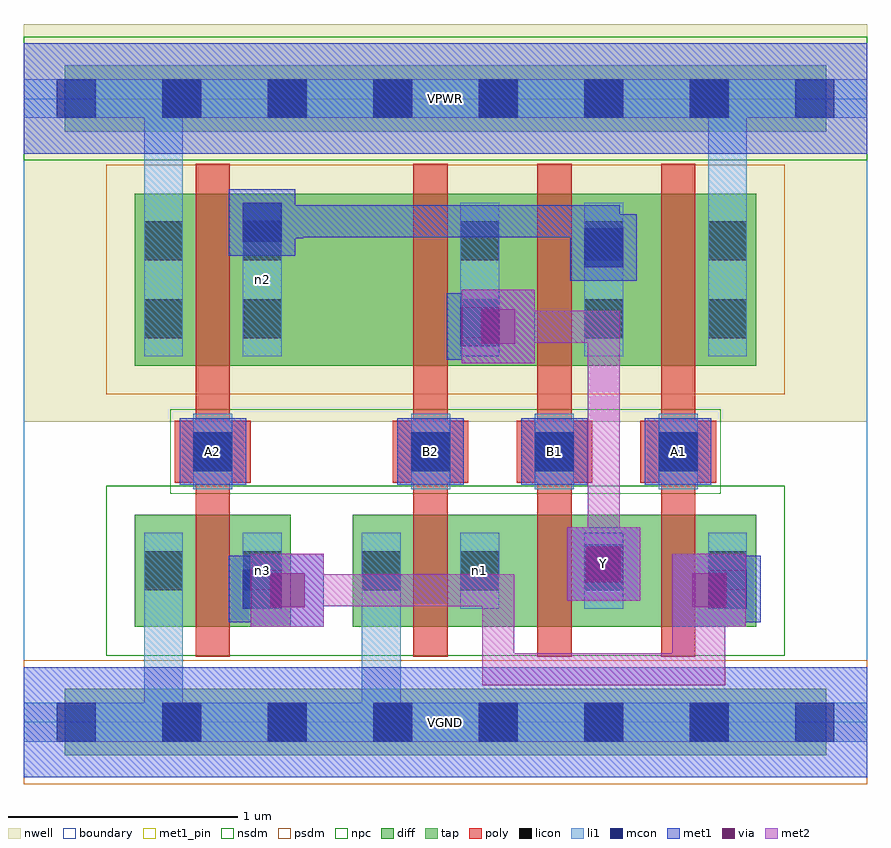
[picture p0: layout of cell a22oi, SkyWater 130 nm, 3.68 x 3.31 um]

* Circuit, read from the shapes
.subckt a22oi A1 A2 B1 B2 VGND VPWR Y n1 n2 n3
XM1 n3 A2 VGND VGND sky130_fd_pr__nfet_01v8 w=0.49 l=0.15
XM2 n1 B2 VGND VGND sky130_fd_pr__nfet_01v8 w=0.49 l=0.15
XM3 Y B1 n1 VGND sky130_fd_pr__nfet_01v8 w=0.49 l=0.15
XM4 n3 A1 Y VGND sky130_fd_pr__nfet_01v8 w=0.49 l=0.15
XM5 n2 A2 VPWR VPWR sky130_fd_pr__pfet_01v8 w=0.75 l=0.15
XM6 Y B2 n2 VPWR sky130_fd_pr__pfet_01v8 w=0.75 l=0.15
XM7 n2 B1 Y VPWR sky130_fd_pr__pfet_01v8 w=0.75 l=0.15
XM8 VPWR A1 n2 VPWR sky130_fd_pr__pfet_01v8 w=0.75 l=0.15
.ends

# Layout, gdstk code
import gdstk
lib = gdstk.Library(unit=1e-6, precision=1e-09)
def R(c, l, rs):  # rectangles x0, y0, x1, y1
    for r in rs: c.add(gdstk.rectangle(r[:2], r[2:], *l))
def A(c, l, x, y, w, h, nx, ny, dx, dy):  # array of equal rectangles
    R(c, l, [(x+i*dx, y+j*dy, x+i*dx+w, y+j*dy+h) for i in range(nx) for j in range(ny)])
nwell = (64, 20)
diff = (65, 20)
tap = (65, 44)
poly = (66, 20)
licon = (66, 44)
li1 = (67, 20)
mcon = (67, 44)
met1_pin = (68, 16)
met1 = (68, 20)
via = (68, 44)
met2 = (69, 20)
nsdm = (93, 44)
psdm = (94, 20)
npc = (95, 20)
boundary = (235, 4)

a22oi = lib.new_cell('a22oi')
R(a22oi, nwell, [(0,1.31,3.68,3.045)])
R(a22oi, diff, [(0.485,0.415,1.165,0.905), (1.435,0.415,3.195,0.905), (0.485,1.555,3.195,2.305)])
R(a22oi, tap, [(0.18,-0.145,3.5,0.145), (0.18,2.575,3.5,2.865)])
A(a22oi, poly, 1.7, 0.285, 0.15, 2.15, 3, 1, 0.54, 0)
A(a22oi, poly, 1.61, 1.045, 0.33, 0.27, 3, 1, 0.54, 0)
R(a22oi, poly, [(0.75,0.285,0.9,2.435), (0.66,1.045,0.99,1.315)])
A(a22oi, licon, 0.605, -0.085, 0.17, 0.17, 6, 2, 0.46, 2.72)
A(a22oi, licon, 1.905, 0.575, 0.17, 0.17, 3, 2, 0.54, 1.1)
A(a22oi, licon, 1.69, 1.095, 0.17, 0.17, 3, 1, 0.54, 0)
A(a22oi, licon, 1.905, 2.015, 0.17, 0.17, 3, 1, 0.54, 0)
R(a22oi, licon, [(0.525,0.575,0.695,0.745), (0.955,0.575,1.125,0.745), (1.475,0.575,1.645,0.745), (0.74,1.095,0.91,1.265), (0.525,1.675,0.695,1.845), (0.955,1.675,1.125,1.845), (0.525,2.015,0.695,2.185), (0.955,2.015,1.125,2.185)])
A(a22oi, li1, 1.905, 0.495, 0.17, 0.33, 3, 1, 0.54, 0)
A(a22oi, li1, 1.69, 1.015, 0.17, 0.33, 3, 1, 0.54, 0)
A(a22oi, li1, 1.905, 1.595, 0.17, 0.67, 3, 1, 0.54, 0)
R(a22oi, li1, [(0,-0.085,3.68,0.085), (0.525,-0.085,0.695,0.825), (1.475,-0.085,1.645,0.825), (0.525,0.495,0.695,0.825), (0.955,0.495,1.125,0.825), (1.475,0.495,1.645,0.825), (0.74,1.015,0.91,1.345), (0.525,1.595,0.695,2.265), (0.525,1.595,0.695,2.805), (0.955,1.595,1.125,2.265), (2.985,1.595,3.155,2.805), (0,2.635,3.68,2.805)])
A(a22oi, mcon, 0.145, -0.085, 0.17, 0.17, 8, 2, 0.46, 2.72)
A(a22oi, mcon, 1.69, 1.095, 0.17, 0.17, 3, 1, 0.54, 0)
R(a22oi, mcon, [(0.955,0.495,1.125,0.665), (2.985,0.495,3.155,0.665), (2.445,0.605,2.615,0.775), (0.74,1.095,0.91,1.265), (1.905,1.64,2.075,1.81), (2.445,1.985,2.615,2.155), (0.955,2.095,1.125,2.265)])
A(a22oi, met1_pin, 1.63, 1.035, 0.29, 0.29, 3, 1, 0.54, 0)
R(a22oi, met1_pin, [(0,-0.24,3.68,0.24), (2.37,0.53,2.69,0.85), (0.68,1.035,0.97,1.325), (0,2.48,3.68,2.96)])
A(a22oi, met1, 1.63, 1.035, 0.29, 0.29, 3, 1, 0.54, 0)
R(a22oi, met1, [(0,-0.24,3.68,0.24), (0.99,0.415,1.31,0.735), (2.83,0.415,3.15,0.735), (0.895,0.435,1.185,0.725), (2.925,0.435,3.215,0.725), (1.08,0.505,1.22,0.65), (2.92,0.505,3.06,0.65), (0.97,0.51,1.22,0.65), (2.92,0.51,3.14,0.65), (2.37,0.53,2.69,0.85), (2.385,0.545,2.675,0.835), (0.68,1.035,0.97,1.325), (1.91,1.565,2.23,1.885), (1.845,1.58,2.135,1.87), (1.92,1.655,2.14,1.795), (2.385,1.925,2.675,2.215), (2.46,2,2.6,2.255), (0.895,2.035,1.185,2.325), (0.97,2.11,1.22,2.25), (1.08,2.11,1.22,2.255), (1.08,2.115,2.6,2.255), (0,2.48,3.68,2.96)])
R(a22oi, via, [(1.075,0.5,1.225,0.65), (2.915,0.5,3.065,0.65), (2.455,0.615,2.605,0.765), (1.995,1.65,2.145,1.8)])
R(a22oi, met2, [(2,0.16,3.06,0.3), (2,0.16,2.14,0.645), (2.92,0.16,3.06,0.645), (2.83,0.3,3.06,0.415), (0.99,0.415,1.31,0.735), (2.83,0.415,3.15,0.735), (1.08,0.505,2.14,0.645), (2.37,0.53,2.69,0.85), (2.46,0.62,2.6,1.795), (1.91,1.565,2.23,1.885), (2,1.655,2.6,1.795)])
R(a22oi, nsdm, [(0.36,0.29,3.32,1.03), (0,2.45,3.68,2.99)])
R(a22oi, psdm, [(0,-0.27,3.68,0.27), (0.36,1.43,3.32,2.43)])
R(a22oi, npc, [(0.64,0.995,3.04,1.365)])
R(a22oi, boundary, [(0,0,3.68,2.72)])
a22oi.add(gdstk.Label('n2', (1.04,1.93), layer=67, texttype=5))
a22oi.add(gdstk.Label('n3', (1.04,0.66), layer=67, texttype=5))
a22oi.add(gdstk.Label('n1', (1.99,0.66), layer=67, texttype=5))
a22oi.add(gdstk.Label('A1', (2.855,1.18), layer=68, texttype=5))
a22oi.add(gdstk.Label('A2', (0.825,1.18), layer=68, texttype=5))
a22oi.add(gdstk.Label('B1', (2.315,1.18), layer=68, texttype=5))
a22oi.add(gdstk.Label('B2', (1.775,1.18), layer=68, texttype=5))
a22oi.add(gdstk.Label('Y', (2.53,0.69), layer=68, texttype=5))
a22oi.add(gdstk.Label('VPWR', (1.84,2.72), layer=68, texttype=5))
a22oi.add(gdstk.Label('VGND', (1.84,0), layer=68, texttype=5))
a22oi.add(gdstk.Label('A1', (2.855,1.18), layer=68, texttype=16))
a22oi.add(gdstk.Label('A2', (0.825,1.18), layer=68, texttype=16))
a22oi.add(gdstk.Label('B1', (2.315,1.18), layer=68, texttype=16))
a22oi.add(gdstk.Label('B2', (1.775,1.18), layer=68, texttype=16))
a22oi.add(gdstk.Label('Y', (2.53,0.69), layer=68, texttype=16))
a22oi.add(gdstk.Label('VPWR', (1.84,2.72), layer=68, texttype=16))
a22oi.add(gdstk.Label('VGND', (1.84,0), layer=68, texttype=16))

lib.write_gds('a22oi.gds')
